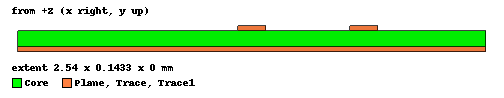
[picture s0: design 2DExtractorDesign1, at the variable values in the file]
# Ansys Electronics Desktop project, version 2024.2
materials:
  vacuum: permittivity=1
  copper: permeability=0.999991 conductivity=58000000
  die_38: permittivity=3.8 dielectric_loss_tangent=0.02

design 2DExtractorDesign1 (2D Extractor, Open, model units mm)
options: LumpedLength=1in RiseTime=1ns DistribLengthUnits=in Calculate_Lossy_Dielectrics
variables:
  wp = 100mil
  wt = 6mil
  sub = 3.24mil
  T = 1.2mil
  gap = 18mil
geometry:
  Plane [copper] = rectangle(corner=(-wp/2, 0mm, 0mm), x_size=wp, y_size=T)
  Core [die_38] = rectangle(corner=(-wp/2, T, 0mm), x_size=wp, y_size=sub)
  Trace [copper] = rectangle(corner=(-wt/2, T +sub, 0mm), x_size=wt, y_size=T)
  Trace1 [copper] = rectangle(corner=(wt/2+gap, T +sub, 0mm), x_size=wt, y_size=T)
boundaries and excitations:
  Trace: SignalLine Objects=Trace SolveOption=SolveInside Thickness=-1000mm
  Plane: ReferenceGround Objects=Plane SolveOption=SolveInside Thickness=-1000mm
  Trace_1: NonIdealGround Objects=Trace1 SolveOption=SolveInside Thickness=-1000mm
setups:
  Setup1: 2DMatrix AdaptiveFreq=1GHz SaveFields CGDataBlock{MaxPass=50 MinPass=1 MinConvPass=2 PerError=1 PerRefine=30 Included PerErrorParamConv=1} RLDataBlock{MaxPass=50 MinPass=1 MinConvPass=2 PerError=1 PerRefine=30 Included PerErrorParamConv=1}
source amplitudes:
  Trace: CG Fields 1V 0deg
  Trace_1: CG Fields 0V 0deg
  Trace: RL Fields 1A 0deg
  Trace_1: RL Fields 0A 0deg
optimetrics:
  ParametricSetup1: Parametric Sim._Setups=[Setup1]
    sweep gap: LIN 6mil 18mil 1mil
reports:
  Characteristic Impedance Plot 1: mag(Z0(Trace,Trace)) vs gap on Setup1 : LastAdaptive [Freq=1GHz]; markers m1 at 6mil, m2 at 7mil, m3 at 8mil, m4 at 9mil, m5 at 11mil, m6 at 12mil, m7 at 13mil, m8 at 14mil, m9 at 15mil, m10 at 16mil, m11 at 17mil, m12 at 18mil
